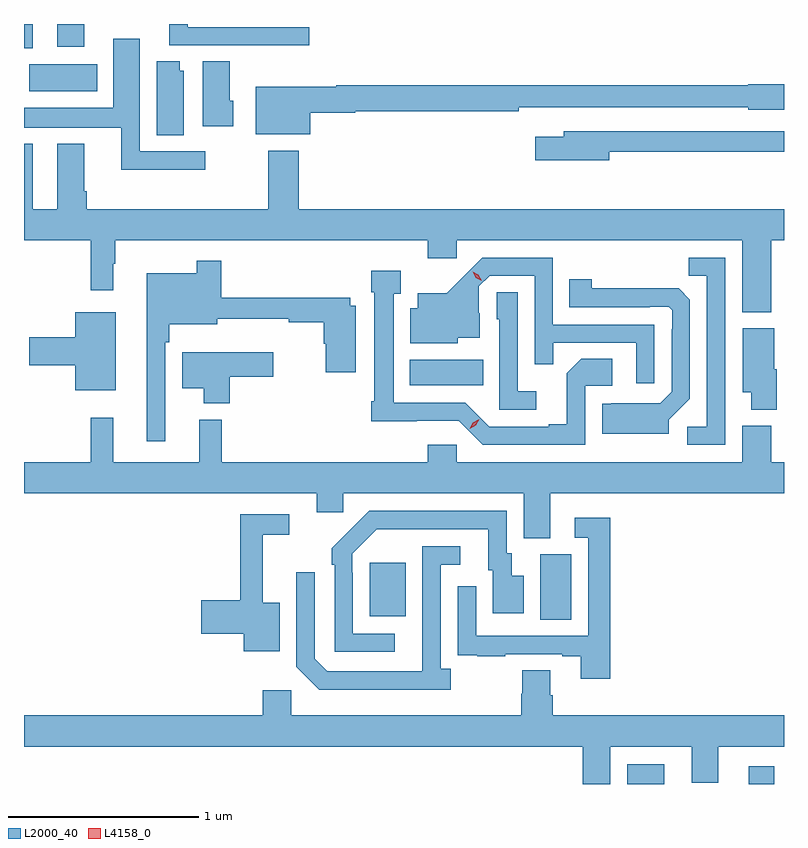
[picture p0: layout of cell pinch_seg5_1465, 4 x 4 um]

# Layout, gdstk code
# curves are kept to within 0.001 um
import gdstk
lib = gdstk.Library(unit=1e-6, precision=1e-09)
def R(c, l, rs):  # rectangles x0, y0, x1, y1
    for r in rs: c.add(gdstk.rectangle(r[:2], r[2:], *l))
def P(c, l, *ps):  # polygons
    for p in ps: c.add(gdstk.Polygon(p, *l))
L2000_40 = (2000, 40)
L4158_0 = (4158, 0)

pinch_seg5_1465 = lib.new_cell('pinch_seg5_1465')
R(pinch_seg5_1465, L2000_40, [(313.005,847.239,313.201,847.342), (313.646,847.239,313.78,847.333), (312.548,848.104,312.712,848.448), (311.651,848.123,311.839,848.404), (311.861,849.338,312.248,849.472), (309.858,850.886,310.216,851.026), (309.831,851.112,309.877,851.239), (310.007,851.118,310.147,851.239)])
P(pinch_seg5_1465, L2000_40, [(311.332,851.223),(310.694,851.223),(310.694,851.239),(310.595,851.239),(310.595,851.127),(311.119,851.127),(311.119,851.126),(311.332,851.126)],
  [(310.786,850.569),(310.441,850.569),(310.441,851.162),(310.301,851.162),(310.301,850.798),(309.831,850.798),(309.831,850.694),(310.343,850.694),(310.343,850.472),(310.786,850.472)],
  [(310.933,850.836),(310.915,850.836),(310.915,851.042),(310.772,851.042),(310.772,850.7),(310.933,850.7)],
  [(310.672,850.992),(310.651,850.992),(310.651,851.042),(310.529,851.042),(310.529,850.654),(310.672,850.654)],
  [(311.338,850.772),(311.574,850.772),(311.574,850.78),(312.434,850.78),(312.434,850.8),(313.644,850.8),(313.644,850.787),(313.831,850.787),(313.831,850.922),(313.644,850.922),(313.644,850.916),(311.474,850.916),(311.474,850.909),(311.051,850.909),(311.051,850.658),(311.338,850.658)],
  [(312.91,850.566),(313.831,850.566),(313.831,850.674),(312.671,850.674),(312.671,850.645),(312.522,850.645),(312.522,850.523),(312.91,850.523)],
  [(313.763,850.1),(313.831,850.1),(313.831,850.264),(311.276,850.264),(311.276,850.573),(311.116,850.573),(311.116,850.264),(310.16,850.264),(310.16,850.36),(310.147,850.36),(310.147,850.609),(310.007,850.609),(310.007,850.264),(309.877,850.264),(309.877,850.609),(309.831,850.609),(309.831,850.1),(310.183,850.1),(310.183,849.837),(310.3,849.837),(310.3,849.977),(310.312,849.977),(310.312,850.1),(311.957,850.1),(311.957,850.005),(312.108,850.005),(312.108,850.1),(313.61,850.1),(313.61,849.722),(313.763,849.722)],
  [(313.521,850.008),(313.33,850.008),(313.33,849.913),(313.425,849.913),(313.425,849.12),(313.323,849.12),(313.323,849.024),(313.521,849.024)],
  [(313.149,849.657),(312.615,849.657),(312.615,850.008),(312.242,850.008),(312.055,849.823),(311.903,849.823),(311.903,849.744),(311.864,849.744),(311.864,849.56),(312.114,849.56),(312.114,849.587),(312.229,849.587),(312.229,849.716),(312.225,849.716),(312.225,849.858),(312.282,849.915),(312.519,849.915),(312.519,849.448),(312.617,849.448),(312.617,849.561),(313.053,849.561),(313.053,849.348),(313.149,849.348)],
  [(310.575,849.563),(310.595,849.563),(310.595,849.659),(310.849,849.659),(310.849,849.689),(311.224,849.689),(311.224,849.67),(311.408,849.67),(311.408,849.555),(311.42,849.555),(311.42,849.405),(311.578,849.405),(311.578,849.757),(311.548,849.757),(311.548,849.799),(310.868,849.799),(310.868,849.994),(310.74,849.994),(310.74,849.928),(310.478,849.928),(310.478,849.042),(310.575,849.042)],
  [(312.786,849.336),(312.928,849.336),(312.928,849.476),(312.763,849.476),(312.687,849.4),(312.687,849.133),(312.593,849.133),(312.593,849.12),(312.279,849.12),(312.153,849.246),(311.776,849.246),(311.776,849.819),(311.815,849.819),(311.815,849.94),(311.658,849.94),(311.658,849.827),(311.675,849.827),(311.675,849.253),(311.658,849.253),(311.658,849.149),(312.12,849.15),(312.246,849.024),(312.786,849.024)],
  [(313.225,849.156),(313.335,849.266),(313.335,849.788),(313.276,849.847),(312.819,849.848),(312.819,849.895),(312.7,849.895),(312.7,849.747),(313.124,849.747),(313.124,849.75),(313.224,849.75),(313.242,849.732),(313.242,849.632),(313.239,849.632),(313.239,849.303),(313.179,849.243),(312.922,849.244),(312.919,849.241),(312.875,849.241),(312.875,849.083),(313.225,849.083)],
  [(312.526,849.307),(312.429,849.307),(312.429,849.827),(312.318,849.827),(312.318,849.684),(312.333,849.684),(312.333,849.21),(312.526,849.21)],
  [(310.315,849.721),(310.1,849.721),(310.1,849.59),(309.858,849.59),(309.858,849.443),(310.1,849.443),(310.1,849.311),(310.315,849.311)],
  [(313.793,849.423),(313.78,849.423),(313.78,849.637),(313.613,849.637),(313.613,849.302),(313.658,849.302),(313.658,849.209),(313.793,849.209)],
  [(310.913,849.382),(311.143,849.382),(311.143,849.511),(310.664,849.511),(310.664,849.323),(310.778,849.323),(310.778,849.242),(310.913,849.242)],
  [(312.601,848.768),(313.831,848.768),(313.831,848.932),(313.763,848.932),(313.763,849.124),(313.61,849.124),(313.61,848.932),(312.108,848.932),(312.108,849.025),(311.957,849.025),(311.957,848.932),(310.871,848.932),(310.871,849.157),(310.754,849.157),(310.754,848.932),(310.301,848.932),(310.301,849.166),(310.183,849.166),(310.183,848.932),(309.831,848.932),(309.831,848.768),(311.372,848.768),(311.372,848.67),(311.511,848.67),(311.511,848.768),(312.461,848.768),(312.461,848.533),(312.601,848.533)],
  [(311.782,848.031),(311.562,848.031),(311.562,848.351),(311.559,848.351),(311.559,848.451),(311.688,848.58),(312.275,848.58),(312.275,848.364),(312.299,848.364),(312.299,848.139),(312.46,848.139),(312.46,848.335),(312.397,848.335),(312.397,848.454),(312.372,848.454),(312.372,848.676),(311.648,848.676),(311.451,848.481),(311.451,848.393),(311.466,848.393),(311.466,847.935),(311.782,847.935)],
  [(311.176,848.194),(311.087,848.194),(311.087,848.55),(311.227,848.55),(311.227,848.658),(310.969,848.658),(310.969,848.207),(310.764,848.207),(310.764,848.029),(310.988,848.029),(310.988,847.937),(311.176,847.937)],
  [(312.917,848.641),(312.729,848.641),(312.729,848.535),(312.801,848.535),(312.801,848.019),(312.21,848.019),(312.21,848.281),(312.114,848.281),(312.114,848.026),(312.115,848.026),(312.115,847.917),(312.217,847.917),(312.217,847.911),(312.365,847.911),(312.365,847.923),(312.665,847.923),(312.665,847.911),(312.761,847.911),(312.761,847.794),(312.917,847.794)],
  [(312.076,847.846),(312.024,847.846),(312.024,848.394),(312.127,848.394),(312.127,848.49),(311.928,848.49),(311.928,847.833),(311.427,847.833),(311.361,847.899),(311.361,848.353),(311.265,848.353),(311.265,847.857),(311.386,847.736),(312.076,847.736)],
  [(312.916,847.436),(313.346,847.436),(313.346,847.246),(313.486,847.246),(313.486,847.436),(313.831,847.436),(313.831,847.6),(312.614,847.6),(312.614,847.706),(312.601,847.706),(312.601,847.838),(312.454,847.838),(312.454,847.713),(312.449,847.713),(312.449,847.6),(311.238,847.6),(311.238,847.732),(311.087,847.732),(311.087,847.6),(309.831,847.6),(309.831,847.436),(312.773,847.436),(312.773,847.239),(312.916,847.239)])
P(pinch_seg5_1465, L4158_0, [(312.239,849.889),(312.209,849.904),(312.192,849.934),(312.192,849.934),(312.192,849.934),(312.222,849.919),(312.24,849.889),(312.24,849.889)],
  [(312.176,849.108),(312.176,849.108),(312.194,849.141),(312.226,849.16),(312.226,849.16),(312.226,849.159),(312.208,849.127),(312.177,849.108)])

lib.write_gds('pinch_seg5_1465.gds')
